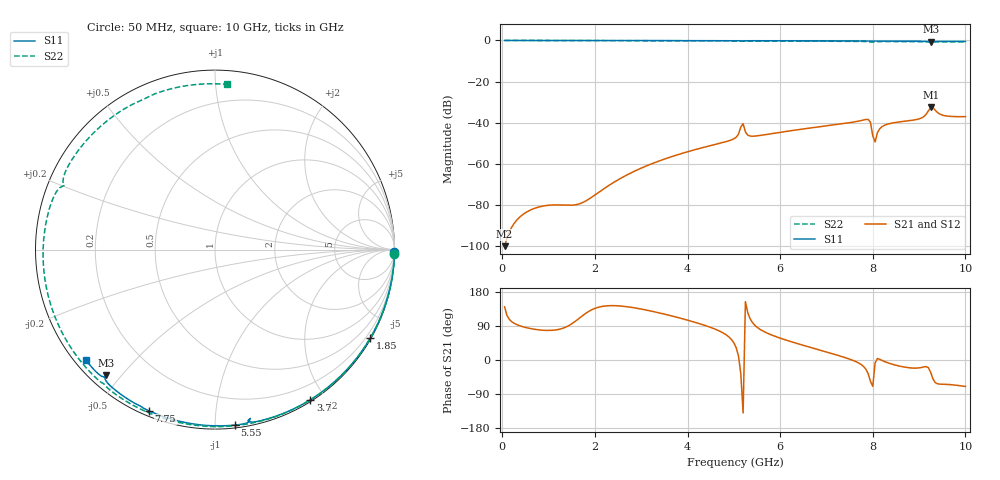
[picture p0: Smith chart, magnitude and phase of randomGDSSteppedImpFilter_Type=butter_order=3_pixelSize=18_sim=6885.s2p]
! freq	dB(S11)	phase(S11)	dB(S12)	phase(S12)
!  dB(S21)	phase(S21)	dB(S22)	phase(S22)
!S-par simulation data
#  GHz  S  DB  R 50
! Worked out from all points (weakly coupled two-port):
!   200 points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, 50 MHz to 10 GHz, reference 50 ohm
!   highest |S21| = -32.55 dB at 9.25 GHz (marker M1); lowest = -100.0 dB at 50 MHz (marker M2)
!   lowest |S11| = -0.7 dB at 9.25 GHz (marker M3), VSWR 26.30, Z = 2.3 - j22.8 ohm
!   |S11| at or under -10 dB: nowhere
!   |S22| runs from -0.8 to 0.0 dB; largest |S21 - S12| = 0
!   S11 on the Smith chart (normalised r, x): 50 MHz: open; 1.85 GHz: 0.03, -3.79; 3.7 GHz: 0.02, -1.82; 5.55 GHz: 0.02, -1.12; 7.75 GHz: 0.02, -0.67; 10 GHz: 0.03, -0.37
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0.05  -0.00 -0.8  -99.98 140.3  -99.98 140.3  -0.00 -1.3
0.85  -0.02 -13.7  -80.61 78.7  -80.61 78.7  -0.03 -22.5
1.75  -0.04 -28.0  -78.63 118.5  -78.63 118.5  -0.06 -45.8
1.85  -0.04 -29.5  -77.38 126.9  -77.38 126.9  -0.06 -48.3
2.6  -0.05 -41.1  -66.45 141.9  -66.45 141.9  -0.09 -67.2
3.4  -0.07 -53.2  -58.46 124.0  -58.46 124.0  -0.11 -86.8
3.7  -0.08 -57.6  -56.15 115.0  -56.15 115.0  -0.13 -94.0
5.05  -0.13 -77.3  -47.04 32.7  -47.04 32.7  -0.20 -126.3
5.2  -0.35 -78.2  -40.46 -139.6  -40.46 -139.6  -0.26 -129.7
5.3  -0.15 -79.8  -45.99 125.0  -45.99 125.0  -0.22 -132.1
5.55  -0.14 -83.5  -46.22 82.2  -46.22 82.2  -0.23 -138.2
6.7  -0.19 -98.9  -42.40 31.6  -42.40 31.6  -0.33 -167.1
7.75  -0.26 -112.3  -38.93 -12.0  -38.93 -12.0  -0.47 163.3
7.95  -0.29 -114.9  -39.72 -56.2  -39.72 -56.2  -0.76 157.1
8  -0.30 -115.4  -46.34 -69.7  -46.34 -69.7  -0.79 157.0
8.05  -0.30 -116.0  -49.30 -7.9  -49.30 -7.9  -0.66 156.1
8.15  -0.30 -117.2  -42.91 1.8  -42.91 1.8  -0.54 152.7
8.35  -0.31 -119.8  -40.49 -8.5  -40.49 -8.5  -0.53 146.0
9.05  -0.41 -128.8  -37.71 -19.8  -37.71 -19.8  -0.61 121.9
9.25  -0.66 -130.9  -32.55 -32.5  -32.55 -32.5  -0.66 114.9
9.5  -0.45 -133.1  -36.25 -63.9  -36.25 -63.9  -0.64 105.5
10  -0.48 -139.6  -37.03 -69.9  -37.03 -69.9  -0.70 85.9
